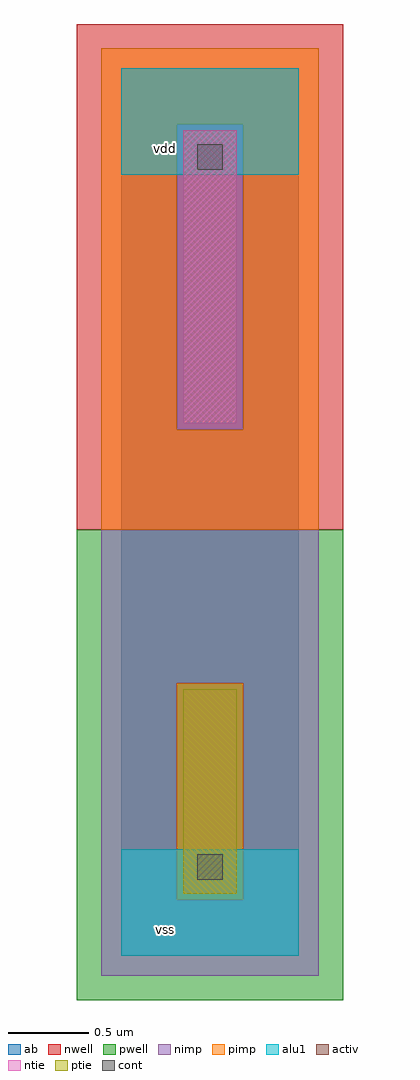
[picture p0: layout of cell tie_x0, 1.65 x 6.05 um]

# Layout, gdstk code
import gdstk
lib = gdstk.Library(unit=1e-6, precision=2.5e-09)
def R(c, l, rs):  # rectangles x0, y0, x1, y1
    for r in rs: c.add(gdstk.rectangle(r[:2], r[2:], *l))
ntie = (5, 0)
ptie = (6, 0)
cont = (25, 0)
pwell = (41, 0)
nwell = (42, 0)
activ = (43, 0)
pimp = (44, 0)
nimp = (45, 0)
alu1 = (49, 0)
ab = (63, 0)

tie_x0 = lib.new_cell('tie_x0')
R(tie_x0, ntie, [(0.385,3.3,0.715,5.115)])
R(tie_x0, ptie, [(0.385,0.385,0.715,1.65)])
R(tie_x0, cont, [(0.47,0.47,0.63,0.63), (0.47,4.87,0.63,5.03)])
R(tie_x0, pwell, [(-0.275,-0.275,1.375,2.64)])
R(tie_x0, nwell, [(-0.275,2.64,1.375,5.775)])
R(tie_x0, activ, [(0.385,0.385,0.715,1.65), (0.385,3.3,0.715,5.115)])
R(tie_x0, pimp, [(0.345,0.345,0.755,1.69), (-0.125,2.64,1.225,3.26), (-0.125,3.26,0.345,5.155), (0.755,3.26,1.225,5.155), (-0.125,5.155,1.225,5.625)])
R(tie_x0, nimp, [(-0.125,-0.125,1.225,0.345), (-0.125,0.345,0.345,1.69), (0.755,0.345,1.225,1.69), (-0.125,1.69,1.225,2.64), (0.345,3.26,0.755,5.155)])
R(tie_x0, alu1, [(0,0,1.1,0.66), (0,4.84,1.1,5.5)])
R(tie_x0, ab, [(0,0,1.1,5.5)])
tie_x0.add(gdstk.Label('vss', (0.275,0.165), layer=49, texttype=0))
tie_x0.add(gdstk.Label('vdd', (0.275,5.005), layer=49, texttype=0))

lib.write_gds('tie_x0.gds')
